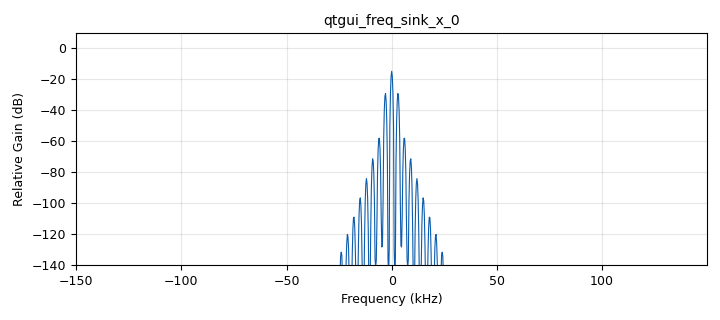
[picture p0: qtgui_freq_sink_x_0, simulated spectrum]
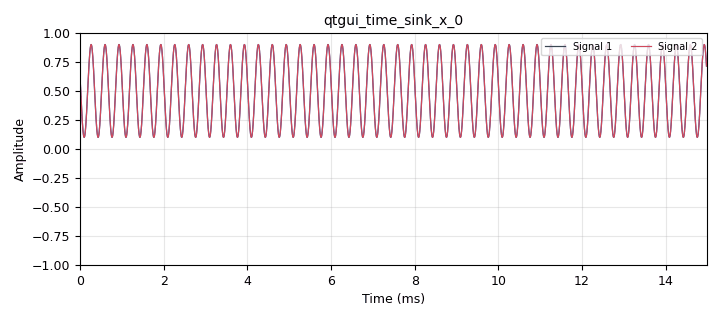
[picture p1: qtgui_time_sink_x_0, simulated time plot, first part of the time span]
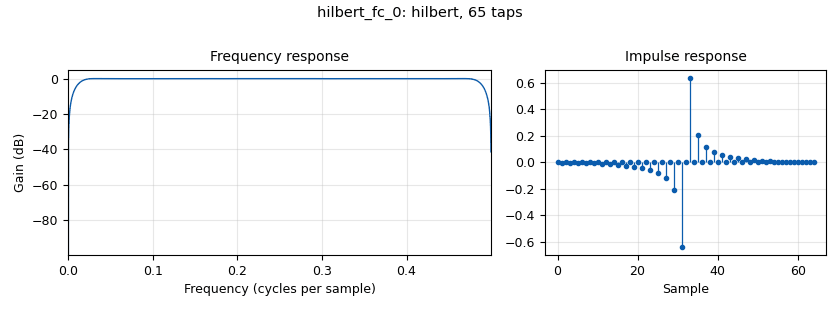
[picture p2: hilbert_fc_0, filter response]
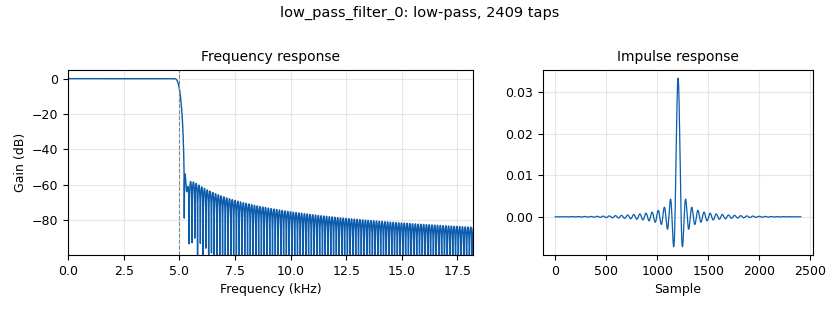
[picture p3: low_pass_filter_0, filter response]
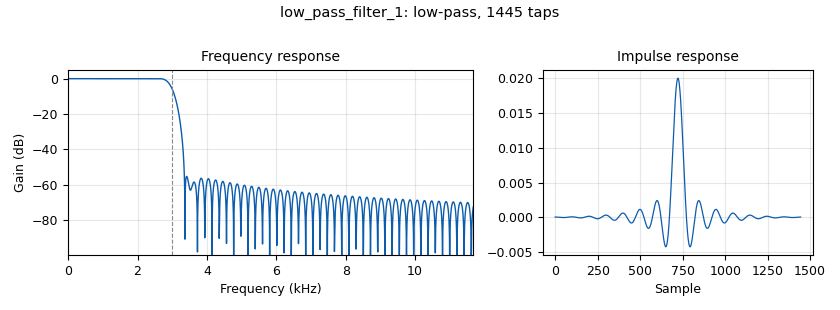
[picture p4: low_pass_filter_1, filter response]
options:
  parameters:
    generate_options: qt_gui
    id: Landell_sigma_delta
    output_language: python
    title: Not titled yet
  states: {}

blocks:
- name: samp_rate
  id: variable
  parameters:
    value: '300000'
  states: {}
- name: analog_noise_source_x_0
  id: analog_noise_source_x
  parameters:
    amp: '1'
    noise_type: analog.GR_GAUSSIAN
    seed: '0'
    type: float
  states: {state: disabled}
- name: analog_sig_source_x_0
  id: analog_sig_source_x
  parameters:
    amp: '0.4'
    freq: '3000'
    offset: '0.5'
    phase: '0'
    samp_rate: samp_rate
    type: float
    waveform: analog.GR_SIN_WAVE
  states: {}
- name: blocks_complex_to_mag_0
  id: blocks_complex_to_mag
  parameters: {}
  states: {}
- name: blocks_delay_0
  id: blocks_delay
  parameters:
    delay: '1205'
    type: float
  states: {}
- name: blocks_file_sink_0
  id: blocks_file_sink
  parameters:
    file: /home/fabio/Compartilhada/erro.dat
    type: float
  states: {}
- name: blocks_multiply_const_vxx_0
  id: blocks_multiply_const_vxx
  parameters:
    const: '1'
    type: float
  states: {}
- name: blocks_sub_xx_0
  id: blocks_sub_xx
  parameters:
    type: float
  states: {}
- name: blocks_throttle2_0
  id: blocks_throttle2
  parameters:
    samples_per_second: samp_rate
    type: float
  states: {}
- name: epy_block_0
  id: epy_block
  parameters:
    _source_code: |
      import numpy as np
      from gnuradio import gr

      class blk(gr.sync_block):
          """
          1st-order sigma-delta modulator (1-bit)
          """
          def __init__(self):
              gr.sync_block.__init__(
                  self,
                  name='sdm1',
                  in_sig=[np.float32],
                  out_sig=[np.float32],
              )
              self.acc = 0.0

          def work(self, input_items, output_items):
              x = input_items[0]
              y = output_items[0]

              for n in range(len(x)):
                  bit = 1.0 if self.acc >= 0.0 else 0.0
                  self.acc += float(x[n]) - bit
                  y[n] = bit

              return len(y)
  states: {}
- name: hilbert_fc_0
  id: hilbert_fc
  parameters:
    num_taps: '65'
  states: {}
- name: low_pass_filter_0
  id: low_pass_filter
  parameters:
    cutoff_freq: '5000'
    decim: '1'
    gain: '1'
    samp_rate: samp_rate
    type: fir_filter_fff
    width: '300'
    win: window.WIN_HAMMING
  states: {}
- name: low_pass_filter_1
  id: low_pass_filter
  parameters:
    cutoff_freq: '3000'
    decim: '1'
    gain: '1'
    samp_rate: samp_rate
    type: fir_filter_fff
    width: '500'
    win: window.WIN_HAMMING
  states: {}
- name: qtgui_freq_sink_x_0
  id: qtgui_freq_sink_x
  parameters:
    bw: samp_rate
    fc: '0'
    fftsize: '1024'
    type: float
  states: {}
- name: qtgui_time_sink_x_0
  id: qtgui_time_sink_x
  parameters:
    nconnections: '2'
    size: '8192'
    srate: samp_rate
    type: float
  states: {}

connections:
- [analog_sig_source_x_0, '0', blocks_delay_0, '0']
- [analog_sig_source_x_0, '0', blocks_multiply_const_vxx_0, '0']
- [analog_sig_source_x_0, '0', low_pass_filter_1, '0']
- [blocks_complex_to_mag_0, '0', qtgui_freq_sink_x_0, '0']
- [blocks_delay_0, '0', blocks_sub_xx_0, '0']
- [blocks_delay_0, '0', qtgui_time_sink_x_0, '1']
- [blocks_multiply_const_vxx_0, '0', blocks_throttle2_0, '0']
- [blocks_sub_xx_0, '0', blocks_file_sink_0, '0']
- [blocks_throttle2_0, '0', epy_block_0, '0']
- [epy_block_0, '0', low_pass_filter_0, '0']
- [hilbert_fc_0, '0', blocks_complex_to_mag_0, '0']
- [low_pass_filter_0, '0', blocks_sub_xx_0, '1']
- [low_pass_filter_0, '0', qtgui_time_sink_x_0, '0']
- [low_pass_filter_1, '0', hilbert_fc_0, '0']

metadata:
  file_format: 1
  grc_version: 3.10.9.2
